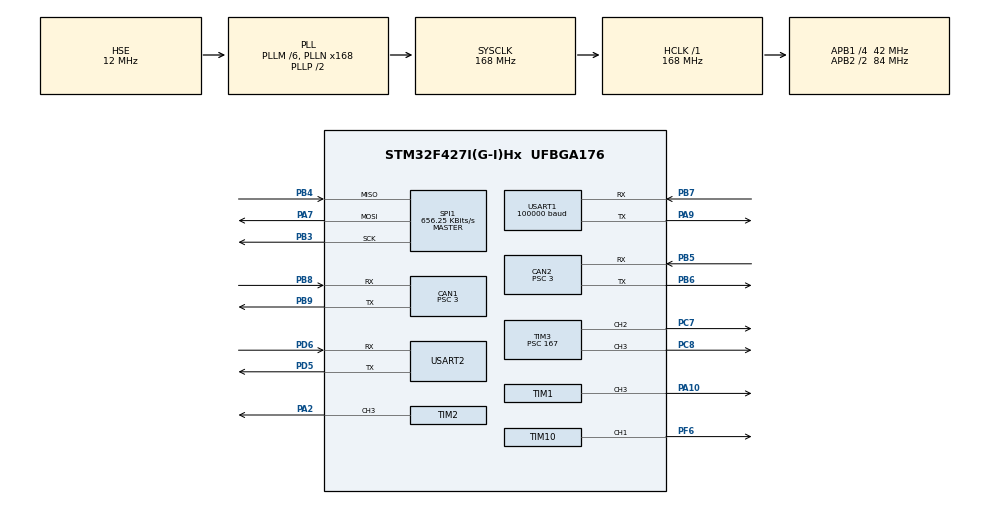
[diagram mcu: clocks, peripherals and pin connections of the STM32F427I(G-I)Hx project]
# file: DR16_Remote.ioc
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CAN1.ABOM=ENABLE
CAN1.AWUM=ENABLE
CAN1.BS1=CAN_BS1_10TQ
CAN1.BS2=CAN_BS2_3TQ
CAN1.CalculateBaudRate=1000000
CAN1.CalculateTimeBit=1000
CAN1.CalculateTimeQuantum=71.42857142857143
CAN1.Prescaler=3
CAN1.TXFP=ENABLE
CAN2.ABOM=ENABLE
CAN2.AWUM=ENABLE
CAN2.BS1=CAN_BS1_10TQ
CAN2.BS2=CAN_BS2_3TQ
CAN2.CalculateBaudRate=1000000
CAN2.CalculateTimeBit=1000
CAN2.CalculateTimeQuantum=71.42857142857143
CAN2.Prescaler=3
CAN2.TXFP=ENABLE
Mcu.Family=STM32F4
Mcu.Name=STM32F427I(G-I)Hx
Mcu.Package=UFBGA176
NVIC.CAN1_RX0_IRQn=true\:0\:0\:false\:false\:true\:true\:true\:true
NVIC.CAN1_TX_IRQn=true\:0\:0\:false\:false\:true\:true\:true\:true
NVIC.PriorityGroup=NVIC_PRIORITYGROUP_4
PA10.Signal=S_TIM1_CH3
PA13.Mode=Serial_Wire
PA13.Signal=SYS_JTMS-SWDIO
PA14.Mode=Serial_Wire
PA14.Signal=SYS_JTCK-SWCLK
PA2.Signal=S_TIM2_CH3
PA7.Mode=Full_Duplex_Master
PA7.Signal=SPI1_MOSI
PA9.Mode=Asynchronous
PA9.Signal=USART1_TX
PB3.Mode=Full_Duplex_Master
PB3.Signal=SPI1_SCK
PB4.Mode=Full_Duplex_Master
PB4.Signal=SPI1_MISO
PB5.Mode=CAN_Activate
PB5.Signal=CAN2_RX
PB6.Mode=CAN_Activate
PB6.Signal=CAN2_TX
PB7.Mode=Asynchronous
PB7.Signal=USART1_RX
PB8.Mode=CAN_Activate
PB8.Signal=CAN1_RX
PB9.Mode=CAN_Activate
PB9.Signal=CAN1_TX
PC7.Signal=S_TIM3_CH2
PC8.Signal=S_TIM3_CH3
PD5.Mode=Asynchronous
PD5.Signal=USART2_TX
PD6.Mode=Asynchronous
PD6.Signal=USART2_RX
PF6.Signal=S_TIM10_CH1
PH0/OSC_IN.Mode=HSE-External-Oscillator
PH0/OSC_IN.Signal=RCC_OSC_IN
PH1/OSC_OUT.Mode=HSE-External-Oscillator
PH1/OSC_OUT.Signal=RCC_OSC_OUT
ProjectManager.HeapSize=0x200
ProjectManager.StackSize=0x400
ProjectManager.TargetToolchain=Makefile
RCC.48MHZClocksFreq_Value=48000000
RCC.AHBFreq_Value=168000000
RCC.APB1CLKDivider=RCC_HCLK_DIV4
RCC.APB1Freq_Value=42000000
RCC.APB1TimFreq_Value=84000000
RCC.APB2CLKDivider=RCC_HCLK_DIV2
RCC.APB2Freq_Value=84000000
RCC.APB2TimFreq_Value=168000000
RCC.CortexFreq_Value=168000000
RCC.HCLKFreq_Value=168000000
RCC.HSE_VALUE=12000000
RCC.HSI_VALUE=16000000
RCC.LSE_VALUE=32768
RCC.PLLM=6
RCC.PLLN=168
RCC.PLLQ=7
RCC.PLLSourceVirtual=RCC_PLLSOURCE_HSE
RCC.SYSCLKFreq_VALUE=168000000
RCC.SYSCLKSource=RCC_SYSCLKSOURCE_PLLCLK
RCC.VCOOutputFreq_Value=336000000
SH.S_TIM10_CH1.0=TIM10_CH1,PWM Generation1 CH1
SH.S_TIM1_CH3.0=TIM1_CH3,PWM Generation3 CH3
SH.S_TIM2_CH3.0=TIM2_CH3,PWM Generation3 CH3
SH.S_TIM3_CH2.0=TIM3_CH2,PWM Generation2 CH2
SH.S_TIM3_CH3.0=TIM3_CH3,PWM Generation3 CH3
SPI1.BaudRatePrescaler=SPI_BAUDRATEPRESCALER_128
SPI1.CalculateBaudRate=656.25 KBits/s
SPI1.Direction=SPI_DIRECTION_2LINES
SPI1.Mode=SPI_MODE_MASTER
SPI1.VirtualType=VM_MASTER
TIM1.Channel-PWM\ Generation3\ CH3=TIM_CHANNEL_3
TIM10.Channel=TIM_CHANNEL_1
TIM10.Period=1999
TIM10.Prescaler=167
TIM2.Channel-PWM\ Generation3\ CH3=TIM_CHANNEL_3
TIM3.Channel-PWM\ Generation2\ CH2=TIM_CHANNEL_2
TIM3.Channel-PWM\ Generation3\ CH3=TIM_CHANNEL_3
TIM3.Period=19999
TIM3.Prescaler=167
USART1.BaudRate=100000
USART1.Parity=PARITY_EVEN
USART1.VirtualMode=VM_ASYNC
USART2.VirtualMode=VM_ASYNC
VP_RNG_VS_RNG.Mode=RNG_Activate
VP_TIM10_VS_ClockSourceINT.Mode=Enable_Timer
VP_TIM3_VS_ClockSourceINT.Mode=Internal
board=custom

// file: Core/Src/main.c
/* USER CODE BEGIN Header */
/**
  ******************************************************************************
  * @file           : main.c
  * @brief          : Main program body
  ******************************************************************************
  * @attention
  *
  * Copyright (c) 2024 STMicroelectronics.
  * All rights reserved.
  *
  * This software is licensed under terms that can be found in the LICENSE file
  * in the root directory of this software component.
  * If no LICENSE file comes with this software, it is provided AS-IS.
  *
  ******************************************************************************
  */
/* USER CODE END Header */
#include "main.h"

/* USER CODE BEGIN PD */
#define RC_CH_VALUE_MIN ((uint16_t) 364)
#define RC_CH_VALUE_OFFSET ((uint16_t) 1024)
#define RC_CH_VALUE_MAX ((uint16_t) 1684)

// RC SWITCH DEFS
#define RC_SW_UP ((uint16_t) 1)
#define RC_SW_MID ((uint16_t) 3)
#define RC_SW_DOWN ((uint16_t) 2)
// this might be switched later cause i dont like that 3 is middle but wtv for now we see

#define RC_FRAME_LENGTH  18u

/* USER CODE END PD */

CAN_HandleTypeDef hcan1;
CAN_HandleTypeDef hcan2;

RNG_HandleTypeDef hrng;

SPI_HandleTypeDef hspi1;

TIM_HandleTypeDef htim1;
TIM_HandleTypeDef htim2;
TIM_HandleTypeDef htim3;
TIM_HandleTypeDef htim10;

UART_HandleTypeDef huart1;
UART_HandleTypeDef huart2;

void SystemClock_Config(void);
static void MX_GPIO_Init(void);
static void MX_CAN1_Init(void);
static void MX_CAN2_Init(void);
static void MX_RNG_Init(void);
static void MX_SPI1_Init(void);
static void MX_TIM1_Init(void);
static void MX_TIM2_Init(void);
static void MX_TIM3_Init(void);
static void MX_TIM10_Init(void);
static void MX_USART1_UART_Init(void);
static void MX_USART2_UART_Init(void);

/* USER CODE BEGIN 0 */
typedef __packed struct{
    struct{
        uint16_t ch0;
        uint16_t ch1;
        uint16_t ch2;
        uint16_t ch3;
        uint16_t s1;
        uint16_t s2;

    }rc;

}RC_Ctl_t;
/* USER CODE END 0 */
volatile unsigned char sbus_rx_buffer[2][RC_FRAME_LENGTH]; //double sbus
rx buffer to save data
static RC_Ctl_t RC_CtrlData;

/******************************************************************************
* @fn RC_Init
*
* @brief configure stm32 usart2 port
* - USART Parameters
* - 100Kbps
* - 8-N-1
* - DMA Mode
*
* @return None.
*
* @note This code is fully tested on STM32F405RGT6 Platform, You can port
it
* to the other platform. Using doube buffer to receive data prevent
losing data.
*/
void RC_Init(void)
{
/* -------------- Enable Module Clock Source ----------------------------*/
    RCC_AHB1PeriphClockCmd(RCC_AHB1Periph_GPIOA | RCC_AHB1Periph_DMA1, ENABLE);
    RCC_APB1PeriphClockCmd(RCC_APB1Periph_USART2, ENABLE);
    GPIO_PinAFConfig(GPIOA,GPIO_PinSource3, GPIO_AF_USART2);
/* -------------- Configure GPIO ---------------------------------------*/
    {
        GPIO_InitTypeDef gpio;
        USART_InitTypeDef usart2;
        gpio.GPIO_Pin = GPIO_Pin_3 ;
        gpio.GPIO_Mode = GPIO_Mode_AF;
        gpio.GPIO_OType = GPIO_OType_PP;
        gpio.GPIO_Speed = GPIO_Speed_100MHz;
        gpio.GPIO_PuPd = GPIO_PuPd_NOPULL;
        GPIO_Init(GPIOA, &gpio);
        USART_DeInit(USART2);
        usart2.USART_BaudRate = 100000;
        usart2.USART_WordLength = USART_WordLength_8b;
        usart2.USART_StopBits = USART_StopBits_1;
        usart2.USART_Parity = USART_Parity_Even;
        usart2.USART_Mode = USART_Mode_Rx;
        usart2.USART_HardwareFlowControl = USART_HardwareFlowControl_None;

        USART_Init(USART2,&usart2);
        USART_Cmd(USART2,ENABLE);
        USART_DMACmd(USART2,USART_DMAReq_Rx,ENABLE);
    }
/* -------------- Configure NVIC ---------------------------------------*/
    {
        NVIC_InitTypeDef nvic;
        nvic.NVIC_IRQChannel = DMA1_Stream5_IRQn;
        nvic.NVIC_IRQChannelPreemptionPriority = 1;
        nvic.NVIC_IRQChannelSubPriority = 1;
        nvic.NVIC_IRQChannelCmd = ENABLE;
        NVIC_Init(&nvic);
    }
/* -------------- Configure DMA -----------------------------------------*/
    {
        DMA_InitTypeDef dma;
        DMA_DeInit(DMA1_Stream5);
        dma.DMA_Channel = DMA_Channel_4;
        dma.DMA_PeripheralBaseAddr = (uint32_t)&(USART2->DR);
        dma.DMA_Memory0BaseAddr = (uint32_t)&sbus_rx_buffer[0][0];
        dma.DMA_DIR = DMA_DIR_PeripheralToMemory;
        dma.DMA_BufferSize = RC_FRAME_LENGTH;
        dma.DMA_PeripheralInc = DMA_PeripheralInc_Disable;
        dma.DMA_MemoryInc = DMA_MemoryInc_Enable;
        dma.DMA_PeripheralDataSize = DMA_PeripheralDataSize_Byte;
        dma.DMA_MemoryDataSize = DMA_MemoryDataSize_Byte;
        dma.DMA_Mode = DMA_Mode_Circular;
        dma.DMA_Priority = DMA_Priority_VeryHigh;
        dma.DMA_FIFOMode = DMA_FIFOMode_Disable;
        dma.DMA_FIFOThreshold = DMA_FIFOThreshold_1QuarterFull;
        dma.DMA_MemoryBurst = DMA_MemoryBurst_Single;
        dma.DMA_PeripheralBurst = DMA_PeripheralBurst_Single;
        DMA_DoubleBufferModeConfig(DMA1_Stream5,(uint32_t)&sbus_rx_buffer[1][0],
                                   DMA_Memory_0); //first used memory configuration
        DMA_DoubleBufferModeCmd(DMA1_Stream5, ENABLE);
        DMA_Init(DMA1_Stream5,&dma);
        USART_ITConfig(USART2, USART_IT_IDLE, ENABLE); //usart rx idle
        interrupt enabled
        DMA_Cmd(DMA1_Stream5,ENABLE);
    }
}
/******************************************************************************
* @fn RemoteDataProcess
*

* @brief resolution rc protocol data.
* @pData a point to rc receive buffer.
* @return None.
* @note RC_CtrlData is a global variable.you can deal with it in other place.
*/
void RemoteDataProcess(uint8_t *pData)
{
    if(pData == NULL)
    {
        return;
    }
    RC_CtrlData.rc.ch0 = ((int16_t)pData[0] | ((int16_t)pData[1] << 8)) & 0x07FF;
    RC_CtrlData.rc.ch1 = (((int16_t)pData[1] >> 3) | ((int16_t)pData[2] << 5))
                         & 0x07FF;
    RC_CtrlData.rc.ch2 = (((int16_t)pData[2] >> 6) | ((int16_t)pData[3] << 2) |
                          ((int16_t)pData[4] << 10)) & 0x07FF;
    RC_CtrlData.rc.ch3 = (((int16_t)pData[4] >> 1) | ((int16_t)pData[5]<<7)) &
                         0x07FF;
    RC_CtrlData.rc.s1 = ((pData[5] >> 4) & 0x000C) >> 2;
    RC_CtrlData.rc.s2 = ((pData[5] >> 4) & 0x0003);
//your control code ....
}
/******************************************************************************
* @fn USART2_IRQHandler
*
* @brief USART2 irq, we are care of ilde interrupt that means receiving the
one frame datas is finished.
*
* @return None.
*
* @note This code is fully tested on STM32F405RGT6 Platform, You can port
it
* to the other platform.
*/
void USART2_IRQHandler (void)
{
    if(USART_GetITStatus(USART2, USART_IT_IDLE) != RESET)
    {

//clear the idle pending flag
        (void)USART2->SR;
        (void)USART2->DR;
//Target is Memory0
        if(DMA_GetCurrentMemoryTarget(DMA1_Stream5) == 0)
        {
            DMA_Cmd(DMA1_Stream5, DISABLE);
            DMA1_Stream5->NDTR = (uint16_t)RC_FRAME_LENGTH; //relocate the

            dma memory pointer to the beginning position

            DMA1_Stream5->CR |= (uint32_t)(DMA_SxCR_CT); //enable the

            current selected memory is Memory 1
            DMA_Cmd(DMA1_Stream5, ENABLE);

            if(DMA_GetCurrDataCounter(DMA1_Stream5) == 0) //ensure
                received complete frame data.

            {
                RemoteDataProcess(sbus_rx_buffer[0]);
            }
        }
//Target is Memory1
        else
        {
            DMA_Cmd(DMA1_Stream5, DISABLE);
            DMA1_Stream5->NDTR = (uint16_t)RC_FRAME_LENGTH; //relocate the dma

            memory pointer to the beginning position

            DMA1_Stream5->CR &= ~(uint32_t)(DMA_SxCR_CT); //enable the current

            selected memory is Memory 0

            DMA_Cmd(DMA1_Stream5, ENABLE);

            if(DMA_GetCurrDataCounter(DMA1_Stream5) == 0)

            {
                RemoteDataProcess(sbus_rx_buffer[1]);
            }
        }
    } }

int main(void)
{

  /* MCU Configuration--------------------------------------------------------*/

  /* Reset of all peripherals, Initializes the Flash interface and the Systick. */
  HAL_Init();

  /* Configure the system clock */
  SystemClock_Config();

  /* Initialize all configured peripherals */
  MX_GPIO_Init();
  MX_CAN1_Init();
  MX_CAN2_Init();
  MX_RNG_Init();
  MX_SPI1_Init();
  MX_TIM1_Init();
  MX_TIM2_Init();
  MX_TIM3_Init();
  MX_TIM10_Init();
  MX_USART1_UART_Init();
  MX_USART2_UART_Init();

  /* Infinite loop */
  while (1)
  {

  }
}

void SystemClock_Config(void)
{
  RCC_OscInitTypeDef RCC_OscInitStruct = {0};
  RCC_ClkInitTypeDef RCC_ClkInitStruct = {0};

  /** Configure the main internal regulator output voltage
  */
  __HAL_RCC_PWR_CLK_ENABLE();
  __HAL_PWR_VOLTAGESCALING_CONFIG(PWR_REGULATOR_VOLTAGE_SCALE1);

  /** Initializes the RCC Oscillators according to the specified parameters
  * in the RCC_OscInitTypeDef structure.
  */
  RCC_OscInitStruct.OscillatorType = RCC_OSCILLATORTYPE_HSE;
  RCC_OscInitStruct.HSEState = RCC_HSE_ON;
  RCC_OscInitStruct.PLL.PLLState = RCC_PLL_ON;
  RCC_OscInitStruct.PLL.PLLSource = RCC_PLLSOURCE_HSE;
  RCC_OscInitStruct.PLL.PLLM = 6;
  RCC_OscInitStruct.PLL.PLLN = 168;
  RCC_OscInitStruct.PLL.PLLP = RCC_PLLP_DIV2;
  RCC_OscInitStruct.PLL.PLLQ = 7;
  if (HAL_RCC_OscConfig(&RCC_OscInitStruct) != HAL_OK)
  {
    Error_Handler();
  }

  /** Initializes the CPU, AHB and APB buses clocks
  */
  RCC_ClkInitStruct.ClockType = RCC_CLOCKTYPE_HCLK|RCC_CLOCKTYPE_SYSCLK
                              |RCC_CLOCKTYPE_PCLK1|RCC_CLOCKTYPE_PCLK2;
  RCC_ClkInitStruct.SYSCLKSource = RCC_SYSCLKSOURCE_PLLCLK;
  RCC_ClkInitStruct.AHBCLKDivider = RCC_SYSCLK_DIV1;
  RCC_ClkInitStruct.APB1CLKDivider = RCC_HCLK_DIV4;
  RCC_ClkInitStruct.APB2CLKDivider = RCC_HCLK_DIV2;

  if (HAL_RCC_ClockConfig(&RCC_ClkInitStruct, FLASH_LATENCY_5) != HAL_OK)
  {
    Error_Handler();
  }
}

static void MX_CAN1_Init(void)
{

  hcan1.Instance = CAN1;
  hcan1.Init.Prescaler = 3;
  hcan1.Init.Mode = CAN_MODE_NORMAL;
  hcan1.Init.SyncJumpWidth = CAN_SJW_1TQ;
  hcan1.Init.TimeSeg1 = CAN_BS1_10TQ;
  hcan1.Init.TimeSeg2 = CAN_BS2_3TQ;
  hcan1.Init.TimeTriggeredMode = DISABLE;
  hcan1.Init.AutoBusOff = ENABLE;
  hcan1.Init.AutoWakeUp = ENABLE;
  hcan1.Init.AutoRetransmission = DISABLE;
  hcan1.Init.ReceiveFifoLocked = DISABLE;
  hcan1.Init.TransmitFifoPriority = ENABLE;
  if (HAL_CAN_Init(&hcan1) != HAL_OK)
  {
    Error_Handler();
  }

}

static void MX_CAN2_Init(void)
{

  hcan2.Instance = CAN2;
  hcan2.Init.Prescaler = 3;
  hcan2.Init.Mode = CAN_MODE_NORMAL;
  hcan2.Init.SyncJumpWidth = CAN_SJW_1TQ;
  hcan2.Init.TimeSeg1 = CAN_BS1_10TQ;
  hcan2.Init.TimeSeg2 = CAN_BS2_3TQ;
  hcan2.Init.TimeTriggeredMode = DISABLE;
  hcan2.Init.AutoBusOff = ENABLE;
  hcan2.Init.AutoWakeUp = ENABLE;
  hcan2.Init.AutoRetransmission = DISABLE;
  hcan2.Init.ReceiveFifoLocked = DISABLE;
  hcan2.Init.TransmitFifoPriority = ENABLE;
  if (HAL_CAN_Init(&hcan2) != HAL_OK)
  {
    Error_Handler();
  }

}

static void MX_RNG_Init(void)
{

  hrng.Instance = RNG;
  if (HAL_RNG_Init(&hrng) != HAL_OK)
  {
    Error_Handler();
  }

}

static void MX_SPI1_Init(void)
{

  /* SPI1 parameter configuration*/
  hspi1.Instance = SPI1;
  hspi1.Init.Mode = SPI_MODE_MASTER;
  hspi1.Init.Direction = SPI_DIRECTION_2LINES;
  hspi1.Init.DataSize = SPI_DATASIZE_8BIT;
  hspi1.Init.CLKPolarity = SPI_POLARITY_LOW;
  hspi1.Init.CLKPhase = SPI_PHASE_1EDGE;
  hspi1.Init.NSS = SPI_NSS_SOFT;
  hspi1.Init.BaudRatePrescaler = SPI_BAUDRATEPRESCALER_128;
  hspi1.Init.FirstBit = SPI_FIRSTBIT_MSB;
  hspi1.Init.TIMode = SPI_TIMODE_DISABLE;
  hspi1.Init.CRCCalculation = SPI_CRCCALCULATION_DISABLE;
  hspi1.Init.CRCPolynomial = 10;
  if (HAL_SPI_Init(&hspi1) != HAL_OK)
  {
    Error_Handler();
  }

}

static void MX_TIM1_Init(void)
{

  TIM_MasterConfigTypeDef sMasterConfig = {0};
  TIM_OC_InitTypeDef sConfigOC = {0};
  TIM_BreakDeadTimeConfigTypeDef sBreakDeadTimeConfig = {0};

  htim1.Instance = TIM1;
  htim1.Init.Prescaler = 0;
  htim1.Init.CounterMode = TIM_COUNTERMODE_UP;
  htim1.Init.Period = 65535;
  htim1.Init.ClockDivision = TIM_CLOCKDIVISION_DIV1;
  htim1.Init.RepetitionCounter = 0;
  htim1.Init.AutoReloadPreload = TIM_AUTORELOAD_PRELOAD_DISABLE;
  if (HAL_TIM_PWM_Init(&htim1) != HAL_OK)
  {
    Error_Handler();
  }
  sMasterConfig.MasterOutputTrigger = TIM_TRGO_RESET;
  sMasterConfig.MasterSlaveMode = TIM_MASTERSLAVEMODE_DISABLE;
  if (HAL_TIMEx_MasterConfigSynchronization(&htim1, &sMasterConfig) != HAL_OK)
  {
    Error_Handler();
  }
  sConfigOC.OCMode = TIM_OCMODE_PWM1;
  sConfigOC.Pulse = 0;
  sConfigOC.OCPolarity = TIM_OCPOLARITY_HIGH;
  sConfigOC.OCNPolarity = TIM_OCNPOLARITY_HIGH;
  sConfigOC.OCFastMode = TIM_OCFAST_DISABLE;
  sConfigOC.OCIdleState = TIM_OCIDLESTATE_RESET;
  sConfigOC.OCNIdleState = TIM_OCNIDLESTATE_RESET;
  if (HAL_TIM_PWM_ConfigChannel(&htim1, &sConfigOC, TIM_CHANNEL_3) != HAL_OK)
  {
    Error_Handler();
  }
  sBreakDeadTimeConfig.OffStateRunMode = TIM_OSSR_DISABLE;
  sBreakDeadTimeConfig.OffStateIDLEMode = TIM_OSSI_DISABLE;
  sBreakDeadTimeConfig.LockLevel = TIM_LOCKLEVEL_OFF;
  sBreakDeadTimeConfig.DeadTime = 0;
  sBreakDeadTimeConfig.BreakState = TIM_BREAK_DISABLE;
  sBreakDeadTimeConfig.BreakPolarity = TIM_BREAKPOLARITY_HIGH;
  sBreakDeadTimeConfig.AutomaticOutput = TIM_AUTOMATICOUTPUT_DISABLE;
  if (HAL_TIMEx_ConfigBreakDeadTime(&htim1, &sBreakDeadTimeConfig) != HAL_OK)
  {
    Error_Handler();
  }
  HAL_TIM_MspPostInit(&htim1);

}

static void MX_TIM2_Init(void)
{

  TIM_MasterConfigTypeDef sMasterConfig = {0};
  TIM_OC_InitTypeDef sConfigOC = {0};

  htim2.Instance = TIM2;
  htim2.Init.Prescaler = 0;
  htim2.Init.CounterMode = TIM_COUNTERMODE_UP;
  htim2.Init.Period = 4294967295;
  htim2.Init.ClockDivision = TIM_CLOCKDIVISION_DIV1;
  htim2.Init.AutoReloadPreload = TIM_AUTORELOAD_PRELOAD_DISABLE;
  if (HAL_TIM_PWM_Init(&htim2) != HAL_OK)
  {
    Error_Handler();
  }
  sMasterConfig.MasterOutputTrigger = TIM_TRGO_RESET;
  sMasterConfig.MasterSlaveMode = TIM_MASTERSLAVEMODE_DISABLE;
  if (HAL_TIMEx_MasterConfigSynchronization(&htim2, &sMasterConfig) != HAL_OK)
  {
    Error_Handler();
  }
  sConfigOC.OCMode = TIM_OCMODE_PWM1;
  sConfigOC.Pulse = 0;
  sConfigOC.OCPolarity = TIM_OCPOLARITY_HIGH;
  sConfigOC.OCFastMode = TIM_OCFAST_DISABLE;
  if (HAL_TIM_PWM_ConfigChannel(&htim2, &sConfigOC, TIM_CHANNEL_3) != HAL_OK)
  {
    Error_Handler();
  }
  HAL_TIM_MspPostInit(&htim2);

}

static void MX_TIM3_Init(void)
{

  TIM_ClockConfigTypeDef sClockSourceConfig = {0};
  TIM_MasterConfigTypeDef sMasterConfig = {0};
  TIM_OC_InitTypeDef sConfigOC = {0};

  htim3.Instance = TIM3;
  htim3.Init.Prescaler = 167;
  htim3.Init.CounterMode = TIM_COUNTERMODE_UP;
  htim3.Init.Period = 19999;
  htim3.Init.ClockDivision = TIM_CLOCKDIVISION_DIV1;
  htim3.Init.AutoReloadPreload = TIM_AUTORELOAD_PRELOAD_DISABLE;
  if (HAL_TIM_Base_Init(&htim3) != HAL_OK)
  {
    Error_Handler();
  }
  sClockSourceConfig.ClockSource = TIM_CLOCKSOURCE_INTERNAL;
  if (HAL_TIM_ConfigClockSource(&htim3, &sClockSourceConfig) != HAL_OK)
  {
    Error_Handler();
  }
  if (HAL_TIM_PWM_Init(&htim3) != HAL_OK)
  {
    Error_Handler();
  }
  sMasterConfig.MasterOutputTrigger = TIM_TRGO_RESET;
  sMasterConfig.MasterSlaveMode = TIM_MASTERSLAVEMODE_DISABLE;
  if (HAL_TIMEx_MasterConfigSynchronization(&htim3, &sMasterConfig) != HAL_OK)
  {
    Error_Handler();
  }
  sConfigOC.OCMode = TIM_OCMODE_PWM1;
  sConfigOC.Pulse = 0;
  sConfigOC.OCPolarity = TIM_OCPOLARITY_HIGH;
  sConfigOC.OCFastMode = TIM_OCFAST_DISABLE;
  if (HAL_TIM_PWM_ConfigChannel(&htim3, &sConfigOC, TIM_CHANNEL_2) != HAL_OK)
  {
    Error_Handler();
  }
  if (HAL_TIM_PWM_ConfigChannel(&htim3, &sConfigOC, TIM_CHANNEL_3) != HAL_OK)
  {
    Error_Handler();
  }
  HAL_TIM_MspPostInit(&htim3);

}

static void MX_TIM10_Init(void)
{

  TIM_OC_InitTypeDef sConfigOC = {0};

  htim10.Instance = TIM10;
  htim10.Init.Prescaler = 167;
  htim10.Init.CounterMode = TIM_COUNTERMODE_UP;
  htim10.Init.Period = 1999;
  htim10.Init.ClockDivision = TIM_CLOCKDIVISION_DIV1;
  htim10.Init.AutoReloadPreload = TIM_AUTORELOAD_PRELOAD_DISABLE;
  if (HAL_TIM_Base_Init(&htim10) != HAL_OK)
  {
    Error_Handler();
  }
  if (HAL_TIM_PWM_Init(&htim10) != HAL_OK)
  {
    Error_Handler();
  }
  sConfigOC.OCMode = TIM_OCMODE_PWM1;
  sConfigOC.Pulse = 0;
  sConfigOC.OCPolarity = TIM_OCPOLARITY_HIGH;
  sConfigOC.OCFastMode = TIM_OCFAST_DISABLE;
  if (HAL_TIM_PWM_ConfigChannel(&htim10, &sConfigOC, TIM_CHANNEL_1) != HAL_OK)
  {
    Error_Handler();
  }
  HAL_TIM_MspPostInit(&htim10);

}

static void MX_USART1_UART_Init(void)
{

  huart1.Instance = USART1;
  huart1.Init.BaudRate = 100000;
  huart1.Init.WordLength = UART_WORDLENGTH_8B;
  huart1.Init.StopBits = UART_STOPBITS_1;
  huart1.Init.Parity = UART_PARITY_EVEN;
  huart1.Init.Mode = UART_MODE_TX_RX;
  huart1.Init.HwFlowCtl = UART_HWCONTROL_NONE;
  huart1.Init.OverSampling = UART_OVERSAMPLING_16;
  if (HAL_UART_Init(&huart1) != HAL_OK)
  {
    Error_Handler();
  }

}

static void MX_USART2_UART_Init(void)
{

  huart2.Instance = USART2;
  huart2.Init.BaudRate = 115200;
  huart2.Init.WordLength = UART_WORDLENGTH_8B;
  huart2.Init.StopBits = UART_STOPBITS_1;
  huart2.Init.Parity = UART_PARITY_NONE;
  huart2.Init.Mode = UART_MODE_TX_RX;
  huart2.Init.HwFlowCtl = UART_HWCONTROL_NONE;
  huart2.Init.OverSampling = UART_OVERSAMPLING_16;
  if (HAL_UART_Init(&huart2) != HAL_OK)
  {
    Error_Handler();
  }

}

static void MX_GPIO_Init(void)
{

  /* GPIO Ports Clock Enable */
  __HAL_RCC_GPIOB_CLK_ENABLE();
  __HAL_RCC_GPIOA_CLK_ENABLE();
  __HAL_RCC_GPIOD_CLK_ENABLE();
  __HAL_RCC_GPIOH_CLK_ENABLE();
  __HAL_RCC_GPIOC_CLK_ENABLE();
  __HAL_RCC_GPIOF_CLK_ENABLE();

}

void Error_Handler(void)
{
  __disable_irq();
  while (1)
  {
  }
}
